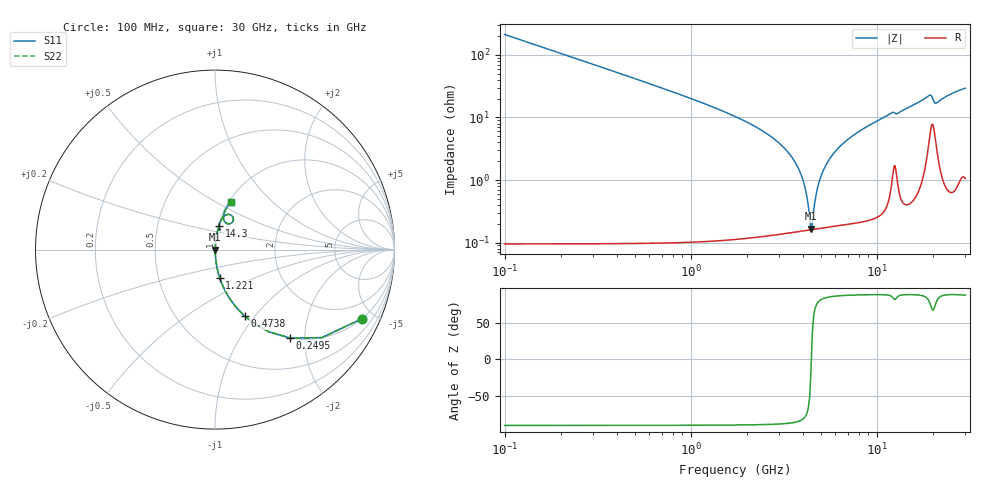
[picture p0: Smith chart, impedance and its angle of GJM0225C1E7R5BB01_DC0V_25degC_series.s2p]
!Murata Part Number: GJM0225C1E7R5BB01
!These Parameters are Measured in Series Mode Connection
!  o--ll--o
!Port1  Port2
!  o------o
!Operation Temp=25[degC], DC Bias Voltage=0[V]
!Freq. Start=100[MHz] Stop=30[GHz], 401[Steps]
!Data Generated on Feb 1, 2023
# Hz S RI R 50
!Freq.(Hz) S11(Real) S11(Imag) S21(Real) S21(Imag) S12(Real) S12(Imag) S22(Real) S22(Imag)
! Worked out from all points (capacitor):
!   401 points, 100 MHz to 30 GHz, reference 50 ohm
!   read as one part in series: C = 7.5 pF near 249.5 MHz
!   lowest |Z| = 166 mohm at 4.436 GHz (marker M1)
!   series resonance near 4.456 GHz, so ESL is about 170 pH
!   S11 on the Smith chart (normalised r, x): 100 MHz: 1.00, -4.24; 249.5 MHz: 1.00, -1.70; 473.8 MHz: 1.00, -0.89; 1.221 GHz: 1.00, -0.32; 14.3 GHz: 1.01, +0.27; 30 GHz: 1.02, +0.59
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1e8  0.818 -0.3856  0.182 0.3856  0.182 0.3856  0.818 -0.3856
2.495e8  0.4183 -0.4927  0.5817 0.4927  0.5817 0.4927  0.4183 -0.4927
4.7375e8  0.1645 -0.3696  0.8355 0.3696  0.8355 0.3696  0.1645 -0.3696
7.7275e8  0.067 -0.2482  0.933 0.2482  0.933 0.2482  0.067 -0.2482
1.22125e9  0.0261 -0.1562  0.9739 0.1562  0.9739 0.1562  0.0261 -0.1562
3.5385e9  0.00193 -0.022  0.9981 0.022  0.9981 0.022  0.00193 -0.022
3.987e9  0.00164 -0.0105  0.9984 0.0105  0.9984 0.0105  0.00164 -0.0105
4.36075e9  0.00159 -0.00204  0.9984 0.00204  0.9984 0.00204  0.00159 -0.00204
4.4355e9  0.0016 -0.000433  0.9984 0.000433  0.9984 0.000433  0.0016 -0.000433
4.585e9  0.00163 0.0027  0.9984 -0.0027  0.9984 -0.0027  0.00163 0.0027
4.80925e9  0.00171 0.00723  0.9983 -0.00723  0.9983 -0.00723  0.00171 0.00723
5.10825e9  0.00187 0.013  0.9981 -0.013  0.9981 -0.013  0.00187 0.013
5.781e9  0.00241 0.0249  0.9976 -0.0249  0.9976 -0.0249  0.00241 0.0249
6.75275e9  0.00356 0.0405  0.9964 -0.0405  0.9964 -0.0405  0.00356 0.0405
1.01165e10  0.0103 0.0874  0.9897 -0.0874  0.9897 -0.0874  0.0103 0.0874
1.43025e10  0.0222 0.1333  0.9778 -0.1333  0.9778 -0.1333  0.0222 0.1333
1.505e10  0.0253 0.1434  0.9747 -0.1434  0.9747 -0.1434  0.0253 0.1434
1.90865e10  0.0787 0.1957  0.9213 -0.1957  0.9213 -0.1957  0.0787 0.1957
2.005825e10  0.0971 0.1533  0.9029 -0.1533  0.9029 -0.1533  0.0971 0.1533
2.080575e10  0.0613 0.1483  0.9387 -0.1483  0.9387 -0.1483  0.0613 0.1483
2.50665e10  0.0583 0.2214  0.9417 -0.2214  0.9417 -0.2214  0.0583 0.2214
3e10  0.0876 0.2652  0.9124 -0.2652  0.9124 -0.2652  0.0876 0.2652
